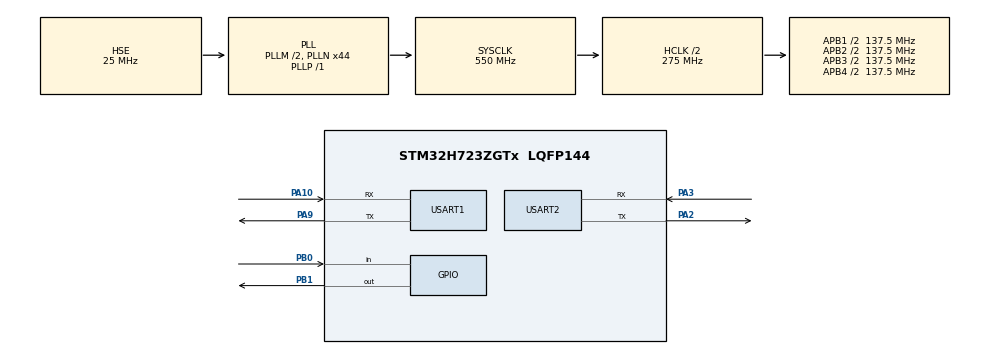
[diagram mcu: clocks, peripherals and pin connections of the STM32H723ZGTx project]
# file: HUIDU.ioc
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CORTEX_M7.default_mode_Activation=1
Mcu.Family=STM32H7
Mcu.Name=STM32H723ZGTx
Mcu.Package=LQFP144
NVIC.PriorityGroup=NVIC_PRIORITYGROUP_4
NVIC.USART2_IRQn=true\:0\:0\:false\:false\:true\:true\:true\:true
PA10.GPIO_Speed=GPIO_SPEED_FREQ_HIGH
PA10.Mode=Asynchronous
PA10.Signal=USART1_RX
PA2.GPIO_Speed=GPIO_SPEED_FREQ_HIGH
PA2.Mode=Asynchronous
PA2.Signal=USART2_TX
PA3.GPIO_Speed=GPIO_SPEED_FREQ_HIGH
PA3.Mode=Asynchronous
PA3.Signal=USART2_RX
PA9.GPIO_Speed=GPIO_SPEED_FREQ_HIGH
PA9.Mode=Asynchronous
PA9.Signal=USART1_TX
PB0.GPIO_PuPd=GPIO_PULLUP
PB0.Signal=GPIO_Input
PB1.GPIO_Speed=GPIO_SPEED_FREQ_HIGH
PB1.Signal=GPIO_Output
PH0-OSC_IN.Mode=HSE-External-Oscillator
PH0-OSC_IN.Signal=RCC_OSC_IN
PH1-OSC_OUT.Mode=HSE-External-Oscillator
PH1-OSC_OUT.Signal=RCC_OSC_OUT
ProjectManager.HeapSize=0x200
ProjectManager.StackSize=0x400
ProjectManager.TargetToolchain=MDK-ARM V5.32
RCC.ADCFreq_Value=50390625
RCC.APB1Freq_Value=137500000
RCC.APB2Freq_Value=137500000
RCC.APB3Freq_Value=137500000
RCC.APB4Freq_Value=137500000
RCC.CortexFreq_Value=550000000
RCC.D1PPRE=RCC_APB3_DIV2
RCC.D2PPRE1=RCC_APB1_DIV2
RCC.D2PPRE2=RCC_APB2_DIV2
RCC.D3PPRE=RCC_APB4_DIV2
RCC.DIVM1=2
RCC.DIVN1=44
RCC.DIVP1=1
RCC.HCLKFreq_Value=275000000
RCC.HPRE=RCC_HCLK_DIV2
RCC.PLLFRACN=0
RCC.PLLSourceVirtual=RCC_PLLSOURCE_HSE
RCC.SYSCLKFreq_VALUE=550000000
RCC.SYSCLKSource=RCC_SYSCLKSOURCE_PLLCLK
RCC.USBFreq_Value=275000000
USART1.VirtualMode-Asynchronous=VM_ASYNC
USART2.VirtualMode-Asynchronous=VM_ASYNC
VP_MEMORYMAP_VS_MEMORYMAP.Mode=CurAppReg
board=custom

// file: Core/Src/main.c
/* USER CODE BEGIN Header */
/**
  ******************************************************************************
  * @file           : main.c
  * @brief          : Main program body
  ******************************************************************************
  * @attention
  *
  * Copyright (c) 2025 STMicroelectronics.
  * All rights reserved.
  *
  * This software is licensed under terms that can be found in the LICENSE file
  * in the root directory of this software component.
  * If no LICENSE file comes with this software, it is provided AS-IS.
  *
  ******************************************************************************
  */
/* USER CODE END Header */
#include "main.h"
#include "memorymap.h"
#include "usart.h"
#include "gpio.h"

/* USER CODE BEGIN Includes */
#include "delay.h"
#include "stdio.h"
#include "string.h"

#include "tjc_usart_hmi.h"
#define FRAME_LENGTH 7
/* USER CODE END Includes */

void SystemClock_Config(void);
static void MPU_Config(void);

/* USER CODE BEGIN 0 */
/*unsigned char Digtal;
unsigned char rx_buff[256]={0};
uint8_t gw_gray_serial_read(){
	uint8_t ret = 0;
	uint8_t i;

	for (i = 0; i < 8; ++i) {
		// 输出时钟下降�?
		HAL_GPIO_WritePin(GPIOB, GPIO_PIN_1,GPIO_PIN_RESET);
		Delay_us(2);
		//避免GPIO翻转过快导致反应不及�?
		ret |= HAL_GPIO_ReadPin(GPIOB, GPIO_PIN_0) << i;

		//输出时钟上升�?,让传感器更新数据
		HAL_GPIO_WritePin(GPIOB, GPIO_PIN_1,GPIO_PIN_SET);

		//延迟�?要在5us左右
		Delay_us(5);
	}

	return ret;
}*/

/* USER CODE END 0 */

int main(void)
{

  /* MPU Configuration--------------------------------------------------------*/
  MPU_Config();

  /* MCU Configuration--------------------------------------------------------*/

  /* Reset of all peripherals, Initializes the Flash interface and the Systick. */
  HAL_Init();

  /* Configure the system clock */
  SystemClock_Config();

  /* Initialize all configured peripherals */
  MX_GPIO_Init();
  MX_USART1_UART_Init();
  MX_USART2_UART_Init();
  /* USER CODE BEGIN 2 */
  initRingBuffer();                   // 初始化环形缓冲区
  HAL_UART_Receive_IT(&TJC_UART, RxBuffer, 1); // 启动串口接收中断
  int a = 100;
  char str[100];
  uint32_t nowtime = HAL_GetTick();
  /* USER CODE END 2 */

  /* Infinite loop */
  while (1)
  {

    /* USER CODE BEGIN 3 */
	  /*Digtal=gw_gray_serial_read();
		sprintf((char *)rx_buff,"Digtal %d-%d-%d-%d-%d-%d-%d-%d\r\n",(Digtal>>0)&0x01,(Digtal>>1)&0x01,(Digtal>>2)&0x01,(Digtal>>3)&0x01,(Digtal>>4)&0x01,(Digtal>>5)&0x01,(Digtal>>6)&0x01,(Digtal>>7)&0x01);
		uart1_send_string((char *)rx_buff);
		memset(rx_buff,0,256);
		Delay_ms(1);
  */
	  if (HAL_GetTick() - nowtime >= 1500)
		{
			nowtime = HAL_GetTick();

			sprintf(str, "n0.val=%d", a);
			tjc_send_string(str);
			sprintf(str, "t0.txt=\"%d\"\xff\xff\xff", a);
			tjc_send_string(str);
			sprintf(str, "click b0,1\xff\xff\xff");
			tjc_send_string(str);
			HAL_Delay(50);
			sprintf(str, "click b0,0\xff\xff\xff");
			tjc_send_string(str);

			a++;
		}
		// 接线说明�?
    // STM32F103 �? GND 连接到串口屏�? GND
    // STM32F103 �? TX2 (PA2) 连接到串口屏�? RX
    // STM32F103 �? RX2 (PA3) 连接到串口屏�? TX
    // STM32F103 �? 5V 连接到串口屏�? 5V，注意供电是否稳�?

    // 数据帧格式说明：
    // 数据帧长度：7 字节
    // 帧结构：
    // 起始字节 | 数据1 | 数据2 | 数据3 | 结束标志�?3字节�?0xFF, 0xFF, 0xFF�?
    // 0x55     | 1字节 | 1字节 | 1字节 | 0xFFFFFF

    // 当数�?1�? 0x01 时：
    // 帧结构：
    // 0x55 | 0x01 | led编号 | led状�?? | 0xFFFFFF
    // 示例1：printh 55 01 01 00 ff ff ff --> 控制 led 1 关闭
    // 示例2：printh 55 01 04 01 ff ff ff --> 控制 led 4 打开
    // 示例3：printh 55 01 00 01 ff ff ff --> 控制 led 0 打开
    // 示例4：printh 55 01 04 00 ff ff ff --> 控制 led 4 关闭

    // 当数�?1�? 0x02 �? 0x03 时：
    // 帧结构：
    // 0x55 | 0x02/0x03 | 数�?�高�? | 数�?�低�? | 0xFFFFFF
    // 示例1：printh 55 02 64 00 ff ff ff --> 设置 h0.val=100
    // 示例2：printh 55 02 00 00 ff ff ff --> 设置 h0.val=0
    // 示例3：printh 55 03 64 00 ff ff ff --> 设置 h1.val=100
    // 示例4：printh 55 03 00 00 ff ff ff --> 设置 h1.val=0

    // 当环形缓冲区中有足够数据时处�?
    while (getRingBufferLength() >= FRAME_LENGTH)
    {
      // �?查帧头帧尾是否匹�?
      if (getRingBufferLength() >= FRAME_LENGTH &&
          read1ByteFromRingBuffer(0) == 0x55 &&
          read1ByteFromRingBuffer(4) == 0xff &&
          read1ByteFromRingBuffer(5) == 0xff &&
          read1ByteFromRingBuffer(6) == 0xff)
      {
        // 匹配命令类型
        if (read1ByteFromRingBuffer(1) == 0x01)
        {
          // 控制LED状�??
          sprintf(str, "msg.txt=\"led %d is %s\"", read1ByteFromRingBuffer(2),
                  read1ByteFromRingBuffer(3) ? "on" : "off");
          tjc_send_string(str);
        }
        else if (read1ByteFromRingBuffer(1) == 0x02)
        {
          // 显示 h0.val 的�??
          sprintf(str, "msg.txt=\"h0.val is %d\"", read1ByteFromRingBuffer(2));
          tjc_send_string(str);
        }
        else if (read1ByteFromRingBuffer(1) == 0x03)
        {
          // 显示 h1.val 的�??
          sprintf(str, "msg.txt=\"h1.val is %d\"", read1ByteFromRingBuffer(2));
          tjc_send_string(str);
        }

        deleteRingBuffer(7); // 删除已处理的7字节数据
      }
      else
      {
        // 如果未匹配，则删�?1字节尝试重新同步
        deleteRingBuffer(1);
        break;
      }
    }
  }
  /* USER CODE END 3 */
}

void SystemClock_Config(void)
{
  RCC_OscInitTypeDef RCC_OscInitStruct = {0};
  RCC_ClkInitTypeDef RCC_ClkInitStruct = {0};

  /** Supply configuration update enable
  */
  HAL_PWREx_ConfigSupply(PWR_LDO_SUPPLY);

  /** Configure the main internal regulator output voltage
  */
  __HAL_PWR_VOLTAGESCALING_CONFIG(PWR_REGULATOR_VOLTAGE_SCALE0);

  while(!__HAL_PWR_GET_FLAG(PWR_FLAG_VOSRDY)) {}

  /** Initializes the RCC Oscillators according to the specified parameters
  * in the RCC_OscInitTypeDef structure.
  */
  RCC_OscInitStruct.OscillatorType = RCC_OSCILLATORTYPE_HSE;
  RCC_OscInitStruct.HSEState = RCC_HSE_ON;
  RCC_OscInitStruct.PLL.PLLState = RCC_PLL_ON;
  RCC_OscInitStruct.PLL.PLLSource = RCC_PLLSOURCE_HSE;
  RCC_OscInitStruct.PLL.PLLM = 2;
  RCC_OscInitStruct.PLL.PLLN = 44;
  RCC_OscInitStruct.PLL.PLLP = 1;
  RCC_OscInitStruct.PLL.PLLQ = 2;
  RCC_OscInitStruct.PLL.PLLR = 2;
  RCC_OscInitStruct.PLL.PLLRGE = RCC_PLL1VCIRANGE_3;
  RCC_OscInitStruct.PLL.PLLVCOSEL = RCC_PLL1VCOWIDE;
  RCC_OscInitStruct.PLL.PLLFRACN = 0;
  if (HAL_RCC_OscConfig(&RCC_OscInitStruct) != HAL_OK)
  {
    Error_Handler();
  }

  /** Initializes the CPU, AHB and APB buses clocks
  */
  RCC_ClkInitStruct.ClockType = RCC_CLOCKTYPE_HCLK|RCC_CLOCKTYPE_SYSCLK
                              |RCC_CLOCKTYPE_PCLK1|RCC_CLOCKTYPE_PCLK2
                              |RCC_CLOCKTYPE_D3PCLK1|RCC_CLOCKTYPE_D1PCLK1;
  RCC_ClkInitStruct.SYSCLKSource = RCC_SYSCLKSOURCE_PLLCLK;
  RCC_ClkInitStruct.SYSCLKDivider = RCC_SYSCLK_DIV1;
  RCC_ClkInitStruct.AHBCLKDivider = RCC_HCLK_DIV2;
  RCC_ClkInitStruct.APB3CLKDivider = RCC_APB3_DIV2;
  RCC_ClkInitStruct.APB1CLKDivider = RCC_APB1_DIV2;
  RCC_ClkInitStruct.APB2CLKDivider = RCC_APB2_DIV2;
  RCC_ClkInitStruct.APB4CLKDivider = RCC_APB4_DIV2;

  if (HAL_RCC_ClockConfig(&RCC_ClkInitStruct, FLASH_LATENCY_3) != HAL_OK)
  {
    Error_Handler();
  }
}

 /* MPU Configuration */

void MPU_Config(void)
{
  MPU_Region_InitTypeDef MPU_InitStruct = {0};

  /* Disables the MPU */
  HAL_MPU_Disable();

  /** Initializes and configures the Region and the memory to be protected
  */
  MPU_InitStruct.Enable = MPU_REGION_ENABLE;
  MPU_InitStruct.Number = MPU_REGION_NUMBER0;
  MPU_InitStruct.BaseAddress = 0x0;
  MPU_InitStruct.Size = MPU_REGION_SIZE_4GB;
  MPU_InitStruct.SubRegionDisable = 0x87;
  MPU_InitStruct.TypeExtField = MPU_TEX_LEVEL0;
  MPU_InitStruct.AccessPermission = MPU_REGION_NO_ACCESS;
  MPU_InitStruct.DisableExec = MPU_INSTRUCTION_ACCESS_DISABLE;
  MPU_InitStruct.IsShareable = MPU_ACCESS_SHAREABLE;
  MPU_InitStruct.IsCacheable = MPU_ACCESS_NOT_CACHEABLE;
  MPU_InitStruct.IsBufferable = MPU_ACCESS_NOT_BUFFERABLE;

  HAL_MPU_ConfigRegion(&MPU_InitStruct);
  /* Enables the MPU */
  HAL_MPU_Enable(MPU_PRIVILEGED_DEFAULT);

}

void Error_Handler(void)
{
  __disable_irq();
  while (1)
  {
  }
}
